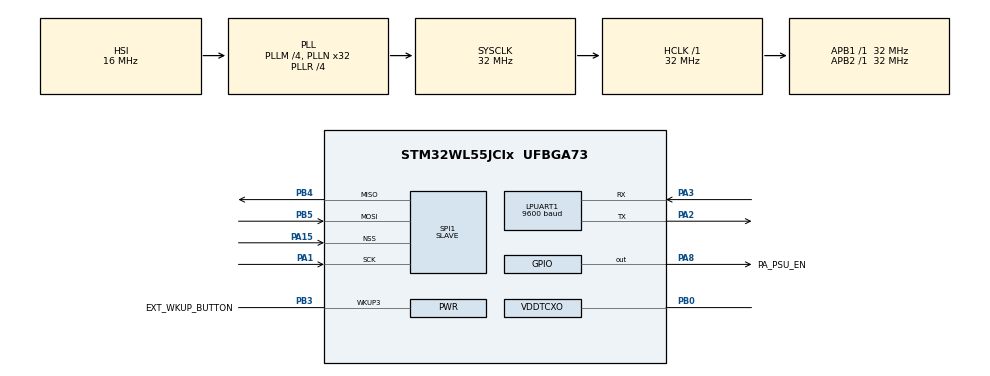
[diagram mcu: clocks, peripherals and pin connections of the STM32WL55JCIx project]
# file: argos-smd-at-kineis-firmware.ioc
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LPUART1.BaudRate=9600
LPUART1.DMADisableonRxErrorParam=UART_ADVFEATURE_DMA_DISABLEONRXERROR
LPUART1.OverrunDisableParam=UART_ADVFEATURE_OVERRUN_DISABLE
Mcu.Family=STM32WL
Mcu.Name=STM32WL55JCIx
Mcu.Package=UFBGA73
NVIC.LPUART1_IRQn=true\:5\:0\:true\:false\:true\:true\:true\:true
NVIC.PriorityGroup=NVIC_PRIORITYGROUP_4
NVIC.RTC_WKUP_IRQn=true\:4\:0\:true\:false\:true\:true\:true\:true
NVIC.SPI1_IRQn=true\:0\:0\:false\:false\:true\:true\:true\:true
NVIC.SUBGHZ_Radio_IRQn=true\:0\:0\:false\:false\:true\:true\:true\:true
NVIC.TIM16_IRQn=true\:4\:0\:true\:false\:true\:true\:true\:true
OSC_IN.Mode=HSE-TCXO
OSC_IN.Signal=RCC_OSC_IN
PA1.Mode=Full_Duplex_Slave
PA1.Signal=SPI1_SCK
PA10.Signal=I2C1_SDA
PA13.GPIO_Label=JTMS_SWDIO
PA13.Mode=Serial_Wire
PA13.Signal=DEBUG_JTMS-SWDIO
PA14.GPIO_Label=JTMS_SWCLK
PA14.Mode=Serial_Wire
PA14.Signal=DEBUG_JTCK-SWCLK
PA15.Mode=NSS_Signal_Hard_Input
PA15.Signal=SPI1_NSS
PA2.Mode=Asynchronous
PA2.Signal=LPUART1_TX
PA3.Mode=Asynchronous
PA3.Signal=LPUART1_RX
PA8.GPIO_Label=PA_PSU_EN
PA8.Signal=GPIO_Output
PA9.Signal=I2C1_SCL
PB0-VDD_TCXO.Mode=HSE-TCXO
PB0-VDD_TCXO.Signal=VDDTCXO
PB3.GPIO_Label=EXT_WKUP_BUTTON
PB3.Mode=WakeUp2
PB3.Signal=PWR_WKUP3
PB4.GPIO_Speed=GPIO_SPEED_FREQ_HIGH
PB4.Mode=Full_Duplex_Slave
PB4.Signal=SPI1_MISO
PB5.GPIO_Speed=GPIO_SPEED_FREQ_HIGH
PB5.Mode=Full_Duplex_Slave
PB5.Signal=SPI1_MOSI
PC14-OSC32_IN.Mode=LSE-External-Oscillator
PC14-OSC32_IN.Signal=RCC_OSC32_IN
PC15-OSC32_OUT.Mode=LSE-External-Oscillator
PC15-OSC32_OUT.Signal=RCC_OSC32_OUT
ProjectManager.HeapSize=0x200
ProjectManager.StackSize=0x400
ProjectManager.TargetToolchain=STM32CubeIDE
RCC.AHBFreq_Value=32000000
RCC.APB1Freq_Value=32000000
RCC.APB1TimFreq_Value=32000000
RCC.APB2Freq_Value=32000000
RCC.APB2TimFreq_Value=32000000
RCC.APB3Freq_Value=32000000
RCC.CortexFreq_Value=32000000
RCC.HCLKFreq_Value=32000000
RCC.HSE_VALUE=32000000
RCC.HSI_VALUE=16000000
RCC.LPUART1CLockSelection=RCC_LPUART1CLKSOURCE_LSE
RCC.LSE_Drive_Capability=RCC_LSEDRIVE_LOW
RCC.LSE_VALUE=32768
RCC.MSIClockRange=RCC_MSIRANGE_10
RCC.PLLM=RCC_PLLM_DIV4
RCC.PLLN=32
RCC.PLLR=RCC_PLLR_DIV4
RCC.PLLSourceVirtual=RCC_PLLSOURCE_HSI
RCC.RTCClockSelection=RCC_RTCCLKSOURCE_LSE
RCC.SYSCLKFreq_VALUE=32000000
RCC.SYSCLKSource=RCC_SYSCLKSOURCE_PLLCLK
RCC.VCOOutputFreq_Value=128000000
RTC.WakeUpClock-WakeUp=RTC_WAKEUPCLOCK_CK_SPRE_16BITS
RTC.WakeUpCounter-WakeUp=5
SPI1.DataSize=SPI_DATASIZE_8BIT
SPI1.Direction=SPI_DIRECTION_2LINES
SPI1.Mode=SPI_MODE_SLAVE
SPI1.VirtualNSS=VM_NSSHARD
SPI1.VirtualType=VM_SLAVE
TIM16.Prescaler=31999
VP_RTC_VS_RTC_Activate.Mode=RTC_Enabled
VP_RTC_VS_RTC_WakeUp_intern.Mode=WakeUp
VP_SUBGHZ_VS_SUBGHZ.Mode=SUBGHZ_Activate
VP_TIM16_VS_ClockSourceINT.Mode=Enable_Timer
board=custom

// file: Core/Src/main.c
/* USER CODE BEGIN Header */
/**
  ******************************************************************************
  * @file           : main.c
  * @brief          : Main program body
  ******************************************************************************
  * @attention
  *
  * Copyright (c) 2022 STMicroelectronics.
  * All rights reserved.
  *
  * This software is licensed under terms that can be found in the LICENSE file
  * in the root directory of this software component.
  * If no LICENSE file comes with this software, it is provided AS-IS.
  *
  ******************************************************************************
  */

/**
 * @page main_page Entry point: main
 *
 * As the kineis stack is meant to be integrated in an OS-like environment supporting LPM, the
 * \ref main function is basically:
 * * Initializing the HW clocks and peripherals according to LPM wakeup sequence
 * * Registering all tasks:
 *     * APP: \ref kns_app_page
 *     * MAC: \ref kns_mac_page,
 *            [libkineis.a doc link](../../../../../Doc/libkineis/html/index.html),
 *            [libknsrf_wl.a doc link](../../../../../Doc/libknsrf_wl/html/index.html)
 *     * IDLE: \ref idle_task_page
 * * Creating all the queues used for communication between tasks
 * * Starting the OS then \ref kns_os_page
 *
 * @section kns_main_subpages Sub-pages
 *
 * * @subpage kns_app_page
 * * @subpage kns_mac_page
 * * @subpage idle_task_page
 * * @subpage kns_os_page
 */

/* USER CODE END Header */
#include "main.h"
#include "usart.h"
#include "rtc.h"
#if defined(USE_SPI_DRIVER)
#include "spi.h"
#endif
#include "subghz.h"
#include "tim.h"
#include "gpio.h"

/* USER CODE BEGIN Includes */

/** Uncomment below if you want to use Kineis standalone APP or GUI APP.
 * GUI APP is about AT commands support sent to device from GUI or SERIAL hyperterminal).
 * @note both flags are exclusive as standalone app will send periodic frame indefinitively
 */
#if !defined(USE_STDALONE_APP) && !defined(USE_GUI_APP)
//#define USE_STDALONE_APP
#define USE_GUI_APP
#endif

#if defined(USE_STDALONE_APP) && defined(USE_GUI_APP)
#error "USE_STDALONE_APP/USE_GUI_APP: Cannot build FW with both APPs, select only one."
#endif

#include "stm32wlxx_it.h"
#include "build_info.h"
#include "kns_q.h"
#include "kns_os.h"
#include "mcu_tim.h"
#include "kns_mac.h"
#include "kns_app.h"
#ifdef USE_GUI_APP
#ifdef USE_BAREMETAL
#include "mgr_at_cmd.h" /* Needed for MGR_AT_CMD_isPendingAt()) in case of BAREMETAL OS to check no
                         * there is no pending AT cmd before entring low power mode
                         */
#endif
#ifdef USE_UART_DRIVER
#include "mcu_at_console.h"
#endif
#endif
#include "lpm.h"
#include "mgr_log.h"

/** Assembly function used to initialize SRAM2 .bss and .data sections. It is based on the same
 * model as the Reset_Handler (cf startup_*.s file) regarding the whole RAM memory
 *
 * This function is called only when waking up from SHUTDOWN, RESET, POWER OFF mode. In any other
 * low power mode, the SRAM2 remains active with current FW.
 *
 * @note By default, the autogenerated code from STM32CubeMx does not handle this.
 */
extern int Sram2_Init();

/* USER CODE END Includes */

/* USER CODE BEGIN PV */

__attribute((__weak__))
const char libkineis_info[] = "N/A";
__attribute((__weak__))
const char libknsrf_wl_info[] = "N/A";

/* USER CODE END PV */

void SystemClock_Config(void);

/* USER CODE BEGIN 0 */

/**
 * @brief Fill-up heap and stack RAM space to track overflows (with 0x55555555 and 0xAAAAAAAA)
 */
void mspFillup(void)
{
  extern uint8_t _end; /* Symbol defined in the linker script */
  extern uint8_t _estack; /* Symbol defined in the linker script */
  extern uint32_t _Min_Stack_Size; /* Symbol defined in the linker script */
  uint32_t *stack_lower_limit = (uint32_t*)((uint32_t)&_estack - (uint32_t)&_Min_Stack_Size);
  uint32_t *stack_upper_limit = (uint32_t*)__get_MSP();
  uint32_t *heap_lower_limit = (uint32_t*)((uint32_t)&_end);

  /* Paint heap */
  for (
       heap_lower_limit = (uint32_t*)((uint32_t)&_end);
       heap_lower_limit < stack_lower_limit;
       heap_lower_limit++)
  {
    *(heap_lower_limit) = 0x55555555;
  }
  /* Paint stack */
  for (
       stack_lower_limit = (uint32_t*)((uint32_t)&_estack - (uint32_t)&_Min_Stack_Size);
       stack_lower_limit < stack_upper_limit;
       stack_lower_limit++)
  {
    *(stack_lower_limit) = 0xAAAAAAAA;
  }
}

/**
 * @brief Check stack limit, in a way to track overflows (0xAAAAAAAA)
 */
void assertMspOverflow(void)
{
  extern uint8_t _estack; /* Symbol defined in the linker script */
  extern uint32_t _Min_Stack_Size; /* Symbol defined in the linker script */
  uint32_t *stack_lower_limit = (uint32_t*)((uint32_t)&_estack - (uint32_t)&_Min_Stack_Size);

  assert_param( *(stack_lower_limit) == 0xAAAAAAAA );
}

/**
 * @brief IDLE task to be registered in OS
 *
 * @page idle_task_page IDLE task
 *
 * This task is called at last position when there is absolutely nothing else to do in other tasks.
 * Thus, its main purpose is to go into low power mode.
 *
 * @note When Standby LPM is supported and GUI application is runnin, a 10s delay is added before
 * going to STANDBY in a way to let user to enter a new AT cmd from UART if wanted.
 *
 * @note In case of Kineis baremetal OS, recheck all queues are empty before LPM, under critical
 * section:
 * * STANDBY/SHUTDOWN: can disable all interrupts, uC will re-enable it when entering LPM.
 * * SLEEP/STOP: disable all interrupts here, but need to restore it at the very last moment just
 * before entering WFI
 *
 * @section idle_task_subpages Sub-pages
 *
 * @subpage lpm_page
 *
 */
static void IDLE_task(void)
{

  /* ---- KINEIS GUI APP ------------------------------------------------------------------------ */
  assertMspOverflow();

#ifdef USE_GUI_APP
  GPIO_InitTypeDef GPIO_InitStruct = {0};

  GPIO_InitStruct.Pin = EXT_WKUP_BUTTON_Pin;
  GPIO_InitStruct.Mode = GPIO_MODE_INPUT;
  GPIO_InitStruct.Pull = GPIO_PULLDOWN;
  HAL_GPIO_Init(EXT_WKUP_BUTTON_GPIO_Port, &GPIO_InitStruct);

#ifdef USE_BAREMETAL
  uint32_t prim;

  if (lpm_config.allowedLPMbitmap & (LOW_POWER_MODE_STANDBY | LOW_POWER_MODE_SHUTDOWN))
  {
    /** wait wakeup pin to turn low (unplug debugger or by user) */
    while(HAL_GPIO_ReadPin(EXT_WKUP_BUTTON_GPIO_Port, EXT_WKUP_BUTTON_Pin) == GPIO_PIN_SET) {
      if (KNS_Q_isEvtInSomeQ() || MGR_AT_CMD_isPendingAt())
        return;
    }
    /** Do the last check on event out of for loop. */
    HAL_Delay(500);
  }

  /** Disable interrupt for last occurence to avoid any interrup to be skipped */
  prim = __get_PRIMASK();
  __disable_irq();
  __disable_fault_irq();
  if (KNS_Q_isEvtInSomeQ() || MGR_AT_CMD_isPendingAt()) {
    if (!prim){
      __enable_fault_irq();
      __enable_irq();
    }
    return;
  }

  /** Enter low power mode has there is no event preempting */
  LPM_enter();
  if (!prim){
    __enable_fault_irq();
    __enable_irq();
  }
#else // end of USE_BAREMETAL
  if (lpm_config.allowedLPMbitmap & (LOW_POWER_MODE_STANDBY | LOW_POWER_MODE_SHUTDOWN))
    while(HAL_GPIO_ReadPin(EXT_WKUP_BUTTON_GPIO_Port, EXT_WKUP_BUTTON_Pin) == GPIO_PIN_SET);

  /** Enter low power mode has there is no event preempting */
  LPM_enter();
#endif
#endif

  /* ---- KINEIS STDLN APP ---------------------------------------------------------------------- */

#ifdef USE_STDALONE_APP
#ifdef USE_BAREMETAL
  uint32_t prim;

  prim = __get_PRIMASK();
  __disable_irq();
  __disable_fault_irq();
  if (KNS_Q_isEvtInSomeQ()) {
    if (!prim){
      __enable_fault_irq();
      __enable_irq();
    }
    return;
  }
  /** Enter low power mode has there is no event preempting */
  LPM_enter();
  if (!prim){
    __enable_fault_irq();
    __enable_irq();
  }
#else // end of USE_BAREMETAL
  /** Enter low power mode has there is no event preempting */
  LPM_enter();
#endif
#endif
}

/* USER CODE END 0 */

int main(void)
{
  /* USER CODE BEGIN 1 */
  bool bIsWakeUpFromReset = false;

  mspFillup();

  /** Check if reset was triggered by nRST external pin
   *
   * @note This pin is also set when POWERing ON on the device or when debugger is plugged in
   * */
  if (__HAL_RCC_GET_FLAG(RCC_FLAG_PINRST) == SET) {
    __HAL_RCC_CLEAR_RESET_FLAGS();
    bIsWakeUpFromReset = true;
  }
  /* USER CODE END 1 */

  /* MCU Configuration--------------------------------------------------------*/

  /* Reset of all peripherals, Initializes the Flash interface and the Systick. */
  HAL_Init();

  /* Configure the system clock */
  SystemClock_Config();

  /* USER CODE BEGIN SysInit */
  /** LPM_getMode and LPM_forceMode uses the TAMP/RTC backup registers (BKPRx), cf
   * lpm_ctxt.low_power_mode variable mapped in __section__(".lpmSection").
   *
   * For a proper usage of LPM_get/force_mode functions after reset:
   * * unprotected the backup domain from unwanted write accesses (HAL_PWR_EnableBkUpAccess() called
   * in SystemClock_Config() above
   * * enable its clock through __HAL_RCC_RTCAPB_CLK_ENABLE() below
   */
  __HAL_RCC_RTCAPB_CLK_ENABLE();

//  if (bIsWakeUpFromReset)
//    LPM_forceMode(LOW_POWER_MODE_NONE);

#ifndef LPM_SHUTDOWN_ENABLED
  if (LPM_getMode() > LOW_POWER_MODE_STANDBY) {
    /** @todo remove assert for final-user build, can keep it during dev/integration */
    assert_param(0);
    /** recovery for production build: try wakeup from power OFF leading to reinit everything */
    LPM_forceMode(LOW_POWER_MODE_NONE);
  }
#else
  if (LPM_getMode() > LOW_POWER_MODE_SHUTDOWN) {
    /** @todo remove assert for final-user build, can keep it during dev/integration */
    assert_param(0);
    /** recovery for production build: try wakeup from power OFF leading to reinit everything */
    LPM_forceMode(LOW_POWER_MODE_NONE);
  }
#endif

  /** Specific clock configuration regarding our LPM strategy (want to support all SLEEP, STOP,
   * STANDBY, SHUTDOWN modes on this uC */
  LPM_SystemClockConfig();
  /* USER CODE END SysInit */

  /* Initialize all configured peripherals */
  MX_GPIO_Init();
  MX_LPUART1_UART_Init();
  MX_SUBGHZ_Init();
  MX_TIM16_Init();
  MX_RTC_Init();
#if defined(USE_SPI_DRIVER)
  MX_SPI1_Init();
#endif
  /* USER CODE BEGIN 2 */

#ifdef DEBUG
  /** When core enters debug mode (core halted), freeze RTC */
  __HAL_DBGMCU_FREEZE_RTC();
#endif

  /** As we just woke up, most of GPIOs are useless so far. Limit their current drain */
  GPIO_DisableAllToAnalogInput();

  /** Do specific Init sequence as per wake up mode. The low power mode was set before entering.
   * Some of them (typically standby, shutdown) makes the uC to reset
   *
   * @note Regarding RTC, specific things are tuned directly in the MX_RTC_Init function (/ref rtc.c
   * file)
   */
  switch (LPM_getMode()) {
  case LOW_POWER_MODE_SHUTDOWN:
    /** Initialize retention RAM2 as not done by default in the Reset_Handler */
    Sram2_Init();
    break;
  case LOW_POWER_MODE_STANDBY:
    __HAL_PWR_CLEAR_FLAG(PWR_FLAG_SB);
    break;
  case LOW_POWER_MODE_STOP:
    __HAL_PWR_CLEAR_FLAG(PWR_FLAG_STOP);
    __HAL_PWR_CLEAR_FLAG(PWR_FLAG_STOP2);
    break;
  case LOW_POWER_MODE_SLEEP:
    break;
  default: /** Start from reset or power off */
    __HAL_PWR_CLEAR_FLAG(PWR_FLAG_SB);
    __HAL_PWR_CLEAR_FLAG(PWR_FLAG_STOP);
    __HAL_PWR_CLEAR_FLAG(PWR_FLAG_STOP2);
    /** Initialize retention RAM2 as not done by default in the Reset_Handler */
    Sram2_Init();
    /** Deinit all unused timers including RTC timer to save current drain (was automatically
     * enabled by STM32Cube generated code earlier
     */
    MCU_TIM_deinit(MCU_TIM_HDLR_TX_TIMEOUT);
    MCU_TIM_deinit(MCU_TIM_HDLR_TX_PERIOD);
    break;
  }

  /** Logging purpose only, mention which LPM exited */
  switch (LPM_getMode()) {
  case LOW_POWER_MODE_SHUTDOWN:
    MGR_LOG_DEBUG("==== WAKEUP from SHUTDOWN ====\r\n");
    break;
  case LOW_POWER_MODE_STANDBY:
    MGR_LOG_DEBUG("==== WAKEUP from STANDBY ====\r\n");
    break;
  case LOW_POWER_MODE_STOP:
    MGR_LOG_DEBUG("==== WAKEUP from STOP MODE ====\r\n");
    break;
  case LOW_POWER_MODE_SLEEP:
    MGR_LOG_DEBUG("==== WAKEUP from SLEEP ====\r\n");
    break;
  default:
    if (bIsWakeUpFromReset)
      MGR_LOG_DEBUG("==== WAKEUP from RESET ====\r\n");
    else
      MGR_LOG_DEBUG("==== WAKEUP from POWER OFF ====\r\n");
    MGR_LOG_DEBUG("Running build, versions:\r\n");
    MGR_LOG_DEBUG("- FW            %s\r\n", uc_fw_vers_commit_id);
    MGR_LOG_DEBUG("- libkineis.a   %s\r\n", libkineis_info);
    MGR_LOG_DEBUG("- libknsrf_wl.a %s\r\n", libknsrf_wl_info);
    MGR_LOG_DEBUG("\r\n");
    break;
  }

  /** LPM managment: Initialize and register Kineis stack client */
  LPM_init();

  /** ---------------------------------------------------------------------------------------------
   * ---- KINEIS STACK MANDATORY RESSOURCES ---- START---------------------------------------------
   * ----------------------------------------------------------------------------------------------
   */
  /** Create OS queues and register task needed by Kineis stack */
  assert_param(KNS_Q_create(KNS_Q_DL_APP2MAC, KNS_Q_DL_APP2MAC_LEN, KNS_Q_DL_APP2MAC_ITEM_BYTESIZE) == KNS_STATUS_OK);
  assert_param(KNS_Q_create(KNS_Q_UL_MAC2APP, KNS_Q_UL_MAC2APP_LEN, KNS_Q_UL_MAC2APP_ITEM_BYTESIZE) == KNS_STATUS_OK);
  assert_param(KNS_Q_create(KNS_Q_UL_INFRA2MAC, KNS_Q_UL_INFRA2MAC_LEN, KNS_Q_UL_INFRA2MAC_ITEM_BYTESIZE) == KNS_STATUS_OK);
  assert_param(KNS_Q_create(KNS_Q_UL_SRVC2MAC, KNS_Q_UL_SRVC2MAC_LEN, KNS_Q_UL_SRVC2MAC_ITEM_BYTESIZE) == KNS_STATUS_OK);
  assert_param(KNS_OS_registerTask(KNS_OS_TASK_MAC, KNS_MAC_task) == KNS_STATUS_OK);
  /** ---------------------------------------------------------------------------------------------
   * ---- KINEIS STACK MANDATORY RESSOURCES ---- END  ---------------------------------------------
   * ----------------------------------------------------------------------------------------------
   */

  /** Register APPlication task and IDLE task
   *
   * @note The Idle task is required to call the low power mode managment only
   * */
#if defined(USE_STDALONE_APP)
  assert_param(KNS_OS_registerTask(KNS_OS_TASK_APP, KNS_APP_stdln_loop) == KNS_STATUS_OK);
  //assert_param(KNS_OS_registerTask(KNS_OS_TASK_APP, KNS_APP_stdalone_stressTest) == KNS_STATUS_OK);
#elif defined (USE_GUI_APP)

#if defined(USE_SPI_DRIVER)
  KNS_APP_gui_init(&hspi1);
#else
  KNS_APP_gui_init(&hlpuart1);
#endif

  assert_param(KNS_OS_registerTask(KNS_OS_TASK_APP, KNS_APP_gui_loop) == KNS_STATUS_OK);
#endif
  assert_param(KNS_OS_registerTask(KNS_OS_TASK_IDLE, IDLE_task) == KNS_STATUS_OK);

  /** As all tasks, queues and OS are ready to start, last LPM-wakeup-specific init sequence */
  switch (LPM_getMode()) {
  case LOW_POWER_MODE_SHUTDOWN:
  case LOW_POWER_MODE_STANDBY:
    /** Simulate potential RTC interrupts, as we can exit shutdown/standby mode from:
     * - RTC alarm
     * - RTC wakeuptimer
     * The handlers check RTC registers in a way to identify RTC interrupt if any.
     * In case shutdown exit is due to the wakeup pin (not RTC), no functional processing will be
     * by those RTC handlers
     */
//    RTC_Alarm_IRQHandler();
    RTC_WKUP_IRQHandler();
    break;
  case LOW_POWER_MODE_STOP:
  case LOW_POWER_MODE_SLEEP:
    break;
  default:
  /** Start from RESET or POWER OFF, log few indications (FW version, Kineis MAc protocol info) */
#if defined (USE_GUI_APP)
#if defined(USE_UART_DRIVER)
    MCU_AT_CONSOLE_send("+FW=%s,%s_%s\r\n", uc_fw_vers_commit_id, __DATE__, __TIME__);
#endif
#endif
    break;
  }

  /** End of init sequence, set LPM as runtime mode before starting all tasks */
  LPM_forceMode(LOW_POWER_MODE_NONE);

  /** Start all tasks */
  KNS_OS_main();

  /* USER CODE END 2 */

  /* Infinite loop */
  /* USER CODE BEGIN WHILE */
  while (1)
  {
    Error_Handler();
    /* USER CODE END WHILE */

  }
}

void SystemClock_Config(void)
{
  RCC_OscInitTypeDef RCC_OscInitStruct = {0};
  RCC_ClkInitTypeDef RCC_ClkInitStruct = {0};

  /** Configure LSE Drive Capability
  */
  HAL_PWR_EnableBkUpAccess();
  __HAL_RCC_LSEDRIVE_CONFIG(RCC_LSEDRIVE_LOW);

  /** Configure the main internal regulator output voltage
  */
  __HAL_PWR_VOLTAGESCALING_CONFIG(PWR_REGULATOR_VOLTAGE_SCALE1);

  /** Initializes the CPU, AHB and APB buses clocks
  */
  RCC_OscInitStruct.OscillatorType = RCC_OSCILLATORTYPE_HSI|RCC_OSCILLATORTYPE_LSE;
  RCC_OscInitStruct.LSEState = RCC_LSE_ON;
  RCC_OscInitStruct.HSIState = RCC_HSI_ON;
  RCC_OscInitStruct.HSICalibrationValue = RCC_HSICALIBRATION_DEFAULT;
  RCC_OscInitStruct.PLL.PLLState = RCC_PLL_ON;
  RCC_OscInitStruct.PLL.PLLSource = RCC_PLLSOURCE_HSI;
  RCC_OscInitStruct.PLL.PLLM = RCC_PLLM_DIV4;
  RCC_OscInitStruct.PLL.PLLN = 32;
  RCC_OscInitStruct.PLL.PLLP = RCC_PLLP_DIV2;
  RCC_OscInitStruct.PLL.PLLR = RCC_PLLR_DIV4;
  RCC_OscInitStruct.PLL.PLLQ = RCC_PLLQ_DIV2;
  if (HAL_RCC_OscConfig(&RCC_OscInitStruct) != HAL_OK)
  {
    Error_Handler();
  }

  /** Configure the SYSCLKSource, HCLK, PCLK1 and PCLK2 clocks dividers
  */
  RCC_ClkInitStruct.ClockType = RCC_CLOCKTYPE_HCLK3|RCC_CLOCKTYPE_HCLK
                              |RCC_CLOCKTYPE_SYSCLK|RCC_CLOCKTYPE_PCLK1
                              |RCC_CLOCKTYPE_PCLK2;
  RCC_ClkInitStruct.SYSCLKSource = RCC_SYSCLKSOURCE_PLLCLK;
  RCC_ClkInitStruct.AHBCLKDivider = RCC_SYSCLK_DIV1;
  RCC_ClkInitStruct.APB1CLKDivider = RCC_HCLK_DIV1;
  RCC_ClkInitStruct.APB2CLKDivider = RCC_HCLK_DIV1;
  RCC_ClkInitStruct.AHBCLK3Divider = RCC_SYSCLK_DIV1;

  if (HAL_RCC_ClockConfig(&RCC_ClkInitStruct, FLASH_LATENCY_1) != HAL_OK)
  {
    Error_Handler();
  }
}

void Error_Handler(void)
{
  /* USER CODE BEGIN Error_Handler_Debug */
  /* User can add his own implementation to report the HAL error return state */
  MGR_LOG_DEBUG("Error_Handler\r\n");
#ifdef DEBUG
#ifdef USE_GUI_APP
#ifdef USE_UART_DRIVER
  MCU_AT_CONSOLE_send("+ASSERT=\r\n");
#else
  MGR_LOG_DEBUG("+ASSERT=\r\n");
#endif
  HAL_Delay(500);
#endif
  __disable_irq();
  while (1)
  {
  }
#else // end of DEBUG
#ifdef USE_GUI_APP
#ifdef USE_UART_DRIVER
  MCU_AT_CONSOLE_send("+RST=\r\n");
#else
  MGR_LOG_DEBUG("+RST=\r\n");
#endif
  HAL_Delay(500);
#endif
  __disable_irq();
  /* reset uC */
  NVIC_SystemReset();
#endif /* #ifdef DEBUG */
  /* USER CODE END Error_Handler_Debug */
}

#ifdef  USE_FULL_ASSERT
/**
  * @brief  Reports the name of the source file and the source line number
  *         where the assert_param error has occurred.
  * @param  file: pointer to the source file name
  * @param  line: assert_param error line source number
  * @retval None
  */
void assert_failed(uint8_t *file, uint32_t line)
{
  /* USER CODE BEGIN 6 */
  /* User can add his own implementation to report the file name and line number,
     ex: printf("Wrong parameters value: file %s on line %d\r\n", file, line) */
  MGR_LOG_DEBUG("ASSERT FAIL: %lu %s\r\n", line, file);
  Error_Handler();
  /* USER CODE END 6 */
}
#endif /* USE_FULL_ASSERT */
